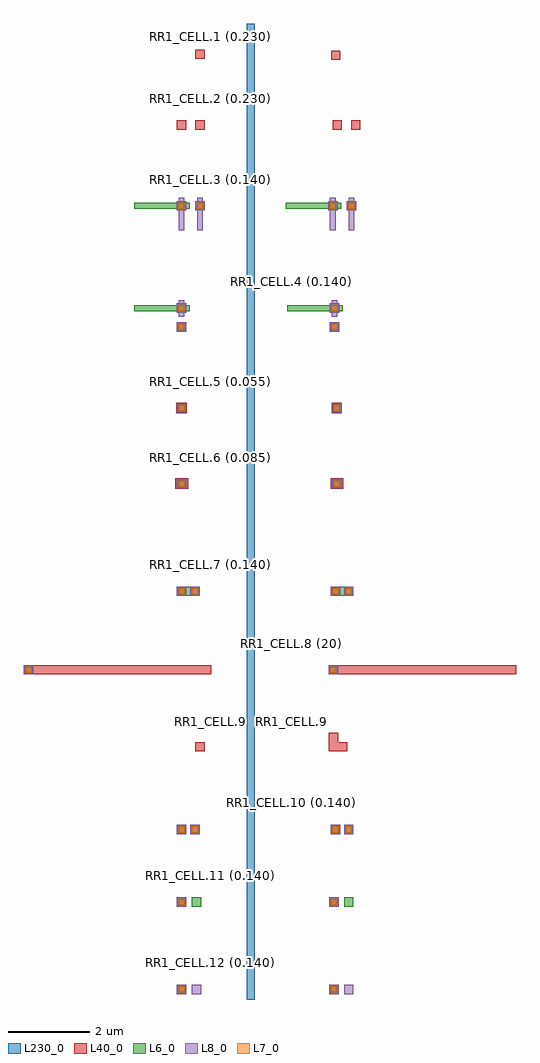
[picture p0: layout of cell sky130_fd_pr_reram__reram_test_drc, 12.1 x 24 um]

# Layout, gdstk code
import gdstk
lib = gdstk.Library(unit=1e-6, precision=1e-09)
def R(c, l, rs):  # rectangles x0, y0, x1, y1
    for r in rs: c.add(gdstk.rectangle(r[:2], r[2:], *l))
L6_0 = (6, 0)
L7_0 = (7, 0)
L8_0 = (8, 0)
L40_0 = (40, 0)
L230_0 = (230, 0)

sky130_fd_pr_reram__rera = lib.new_cell('sky130_fd_pr_reram__reram_test_drc')
R(sky130_fd_pr_reram__rera, L6_0, [(-1.82,-23.865,-1.59,-23.635), (1.925,-23.865,2.155,-23.635), (-1.82,-21.72,-1.59,-21.49), (-1.45,-21.72,-1.22,-21.49), (1.925,-21.72,2.155,-21.49), (2.29,-21.72,2.52,-21.49), (-1.82,-19.935,-1.59,-19.705), (-1.49,-19.935,-1.26,-19.705), (1.965,-19.935,2.195,-19.705), (2.29,-19.935,2.52,-19.705), (-5.58,-16.005,-5.35,-15.775), (1.915,-16.005,2.145,-15.775), (-1.82,-14.075,-1.59,-13.845), (-1.82,-14.075,-1.26,-13.845), (1.965,-14.075,2.195,-13.845), (1.965,-14.075,2.52,-13.845), (-1.82,-11.43,-1.59,-11.2), (2,-11.43,2.23,-11.2), (-1.82,-9.57,-1.59,-9.34), (2,-9.57,2.23,-9.34), (-1.825,-7.575,-1.595,-7.345), (1.94,-7.575,2.17,-7.345), (-1.825,-7.115,-1.595,-6.885), (1.94,-7.115,2.17,-6.885), (-2.87,-7.07,-1.505,-6.93), (0.895,-7.07,2.26,-6.93), (-1.825,-4.595,-1.595,-4.365), (-1.365,-4.595,-1.135,-4.365), (1.9,-4.595,2.13,-4.365), (2.36,-4.595,2.59,-4.365), (-2.87,-4.55,-1.505,-4.41), (0.855,-4.55,2.225,-4.41)])
R(sky130_fd_pr_reram__rera, L7_0, [(-1.78,-23.825,-1.63,-23.675), (1.965,-23.825,2.115,-23.675), (-1.78,-21.68,-1.63,-21.53), (1.965,-21.68,2.115,-21.53), (-1.78,-19.895,-1.63,-19.745), (-1.45,-19.895,-1.3,-19.745), (2.005,-19.895,2.155,-19.745), (2.33,-19.895,2.48,-19.745), (-5.54,-15.965,-5.39,-15.815), (1.955,-15.965,2.105,-15.815), (-1.78,-14.035,-1.63,-13.885), (-1.45,-14.035,-1.3,-13.885), (2.005,-14.035,2.155,-13.885), (2.33,-14.035,2.48,-13.885), (-1.78,-11.39,-1.63,-11.24), (2.04,-11.39,2.19,-11.24), (-1.78,-9.53,-1.63,-9.38), (2.04,-9.53,2.19,-9.38), (-1.785,-7.535,-1.635,-7.385), (1.98,-7.535,2.13,-7.385), (-1.785,-7.075,-1.635,-6.925), (1.98,-7.075,2.13,-6.925), (-1.785,-4.555,-1.635,-4.405), (-1.325,-4.555,-1.175,-4.405), (1.94,-4.555,2.09,-4.405), (2.4,-4.555,2.55,-4.405)])
R(sky130_fd_pr_reram__rera, L8_0, [(-1.82,-23.865,-1.59,-23.635), (-1.45,-23.865,-1.22,-23.635), (1.925,-23.865,2.155,-23.635), (2.29,-23.865,2.52,-23.635), (-1.82,-21.72,-1.59,-21.49), (1.925,-21.72,2.155,-21.49), (-1.82,-19.935,-1.59,-19.705), (-1.49,-19.935,-1.26,-19.705), (1.965,-19.935,2.195,-19.705), (2.29,-19.935,2.52,-19.705), (-5.58,-16.005,-5.35,-15.775), (1.915,-16.005,2.145,-15.775), (-1.82,-14.075,-1.59,-13.845), (-1.49,-14.075,-1.26,-13.845), (1.965,-14.075,2.195,-13.845), (2.29,-14.075,2.52,-13.845), (-1.82,-11.43,-1.59,-11.2), (2,-11.43,2.23,-11.2), (-1.82,-9.57,-1.59,-9.34), (2,-9.57,2.23,-9.34), (-1.825,-7.575,-1.595,-7.345), (1.94,-7.575,2.17,-7.345), (1.985,-7.21,2.125,-6.8), (-1.78,-7.205,-1.64,-6.8), (-1.825,-7.115,-1.595,-6.885), (1.94,-7.115,2.17,-6.885), (-1.78,-5.08,-1.64,-4.28), (-1.32,-5.08,-1.18,-4.28), (1.945,-5.08,2.085,-4.28), (2.405,-5.08,2.545,-4.28), (-1.825,-4.595,-1.595,-4.365), (-1.365,-4.595,-1.135,-4.365), (1.9,-4.595,2.13,-4.365), (2.36,-4.595,2.59,-4.365)])
R(sky130_fd_pr_reram__rera, L40_0, [(-1.82,-23.865,-1.59,-23.635), (1.925,-23.865,2.155,-23.635), (-1.82,-21.72,-1.59,-21.49), (1.925,-21.72,2.155,-21.49), (-1.82,-19.935,-1.59,-19.705), (1.965,-19.935,2.195,-19.705), (-1.365,-17.9,-1.135,-17.67), (1.915,-17.9,2.375,-17.67), (1.915,-17.9,2.145,-17.44), (-5.58,-16.005,-0.98,-15.775), (1.915,-16.005,6.52,-15.775), (-1.82,-14.075,-1.59,-13.845), (1.965,-14.075,2.195,-13.845), (-1.865,-11.445,-1.545,-11.185), (1.96,-11.445,2.27,-11.185), (-1.835,-9.585,-1.575,-9.325), (1.99,-9.585,2.24,-9.325), (-1.825,-7.575,-1.595,-7.345), (1.94,-7.575,2.17,-7.345), (-1.825,-7.115,-1.595,-6.885), (1.94,-7.115,2.17,-6.885), (-1.825,-4.595,-1.595,-4.365), (-1.365,-4.595,-1.135,-4.365), (1.9,-4.595,2.13,-4.365), (2.36,-4.595,2.59,-4.365), (-1.825,-2.615,-1.595,-2.385), (-1.365,-2.615,-1.135,-2.385), (2.01,-2.615,2.24,-2.385), (2.465,-2.615,2.695,-2.385), (1.97,-0.895,2.195,-0.67), (-1.365,-0.87,-1.135,-0.64)])
R(sky130_fd_pr_reram__rera, L230_0, [(-0.1,-24,0.1,0)])
sky130_fd_pr_reram__rera.add(gdstk.Label('RR1_CELL.-', (0,1), layer=230, texttype=0))
sky130_fd_pr_reram__rera.add(gdstk.Label('RR1_CELL.1 (0.230)', (-1,-0.31), layer=230, texttype=0))
sky130_fd_pr_reram__rera.add(gdstk.Label('RR1_CELL.1 (0.230)', (1,-0.335), layer=230, texttype=0))
sky130_fd_pr_reram__rera.add(gdstk.Label('RR1_CELL.2 (0.230)', (-1,-1.85), layer=230, texttype=0))
sky130_fd_pr_reram__rera.add(gdstk.Label('RR1_CELL.2 (0.230)', (1,-1.875), layer=230, texttype=0))
sky130_fd_pr_reram__rera.add(gdstk.Label('RR1_CELL.3 (0.140)', (-1,-3.83), layer=230, texttype=0))
sky130_fd_pr_reram__rera.add(gdstk.Label('RR1_CELL.3 (0.140)', (1,-3.83), layer=230, texttype=0))
sky130_fd_pr_reram__rera.add(gdstk.Label('RR1_CELL.4 (0.140)', (1,-6.35), layer=230, texttype=0))
sky130_fd_pr_reram__rera.add(gdstk.Label('RR1_CELL.4 (0.140)', (-1,-6.35), layer=230, texttype=0))
sky130_fd_pr_reram__rera.add(gdstk.Label('RR1_CELL.5 (0.055)', (-1,-8.8), layer=230, texttype=0))
sky130_fd_pr_reram__rera.add(gdstk.Label('RR1_CELL.5 (0.055)', (1,-8.8), layer=230, texttype=0))
sky130_fd_pr_reram__rera.add(gdstk.Label('RR1_CELL.6 (0.085)', (-1,-10.66), layer=230, texttype=0))
sky130_fd_pr_reram__rera.add(gdstk.Label('RR1_CELL.6 (0.085)', (1,-10.66), layer=230, texttype=0))
sky130_fd_pr_reram__rera.add(gdstk.Label('RR1_CELL.7 (0.140)', (-1,-13.305), layer=230, texttype=0))
sky130_fd_pr_reram__rera.add(gdstk.Label('RR1_CELL.7 (0.140)', (1,-13.305), layer=230, texttype=0))
sky130_fd_pr_reram__rera.add(gdstk.Label('RR1_CELL.8 (20)', (1,-15.235), layer=230, texttype=0))
sky130_fd_pr_reram__rera.add(gdstk.Label('RR1_CELL.8 (20)', (-1,-15.235), layer=230, texttype=0))
sky130_fd_pr_reram__rera.add(gdstk.Label('RR1_CELL.9', (1,-17.165), layer=230, texttype=0))
sky130_fd_pr_reram__rera.add(gdstk.Label('RR1_CELL.9', (-1,-17.165), layer=230, texttype=0))
sky130_fd_pr_reram__rera.add(gdstk.Label('RR1_CELL.10 (0.140)', (1,-19.165), layer=230, texttype=0))
sky130_fd_pr_reram__rera.add(gdstk.Label('RR1_CELL.10 (0.140)', (-1,-19.165), layer=230, texttype=0))
sky130_fd_pr_reram__rera.add(gdstk.Label('RR1_CELL.11 (0.140)', (-1,-20.95), layer=230, texttype=0))
sky130_fd_pr_reram__rera.add(gdstk.Label('RR1_CELL.11 (0.140)', (1,-20.95), layer=230, texttype=0))
sky130_fd_pr_reram__rera.add(gdstk.Label('RR1_CELL.12 (0.140)', (-1,-23.095), layer=230, texttype=0))
sky130_fd_pr_reram__rera.add(gdstk.Label('RR1_CELL.12 (0.140)', (1,-23.095), layer=230, texttype=0))

lib.write_gds('sky130_fd_pr_reram__reram_test_drc.gds')
